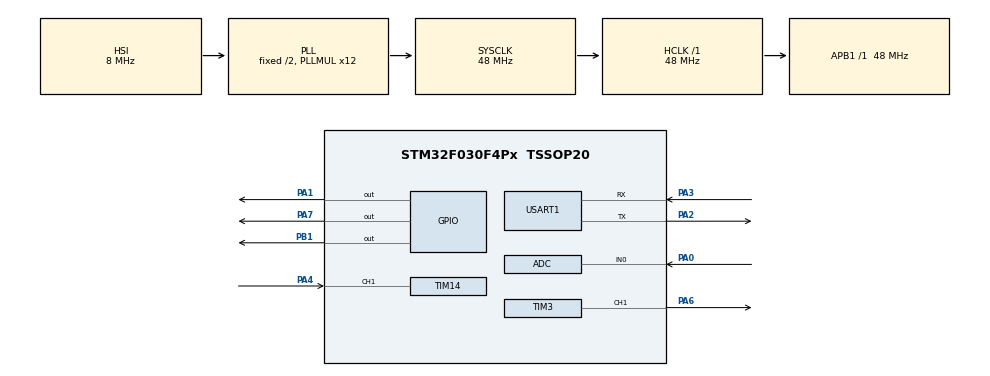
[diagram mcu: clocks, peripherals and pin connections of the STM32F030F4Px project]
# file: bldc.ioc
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ADC.SamplingTime=ADC_SAMPLETIME_239CYCLES_5
Mcu.Family=STM32F0
Mcu.Name=STM32F030F4Px
Mcu.Package=TSSOP20
NVIC.TIM14_IRQn=true\:0\:0\:true\:false\:true\:true\:true\:true
NVIC.USART1_IRQn=true\:0\:0\:false\:false\:true\:true\:true\:true
PA0.Mode=IN0
PA0.Signal=ADC_IN0
PA1.Signal=GPIO_Output
PA13.Mode=Serial_Wire
PA13.Signal=SYS_SWDIO
PA14.Mode=Serial_Wire
PA14.Signal=SYS_SWCLK
PA2.Mode=Asynchronous
PA2.Signal=USART1_TX
PA3.Mode=Asynchronous
PA3.Signal=USART1_RX
PA4.Signal=S_TIM14_CH1
PA6.Signal=S_TIM3_CH1
PA7.Signal=GPIO_Output
PB1.Signal=GPIO_Output
PF0-OSC_IN.Mode=HSE-External-Oscillator
PF0-OSC_IN.Signal=RCC_OSC_IN
PF1-OSC_OUT.Mode=HSE-External-Oscillator
PF1-OSC_OUT.Signal=RCC_OSC_OUT
ProjectManager.HeapSize=0x200
ProjectManager.StackSize=0x400
ProjectManager.TargetToolchain=MDK-ARM V5
RCC.AHBFreq_Value=48000000
RCC.APB1Freq_Value=48000000
RCC.APB1TimFreq_Value=48000000
RCC.HCLKFreq_Value=48000000
RCC.PLLMUL=RCC_PLL_MUL12
RCC.SYSCLKFreq_VALUE=48000000
RCC.SYSCLKSource=RCC_SYSCLKSOURCE_PLLCLK
SH.S_TIM14_CH1.0=TIM14_CH1,Input_Capture1_from_TI1
SH.S_TIM3_CH1.0=TIM3_CH1,PWM Generation1 CH1
TIM14.AutoReloadPreload=TIM_AUTORELOAD_PRELOAD_ENABLE
TIM14.Channel=TIM_CHANNEL_1
TIM14.Prescaler=11999
TIM3.Channel-PWM\ Generation1\ CH1=TIM_CHANNEL_1
TIM3.Period=99
TIM3.Prescaler=47
TIM3.Pulse-PWM\ Generation1\ CH1=0
USART1.VirtualMode-Asynchronous=VM_ASYNC
VP_TIM14_VS_ClockSourceINT.Mode=Enable_Timer
board=custom

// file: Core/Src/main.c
/* USER CODE BEGIN Header */
/**
  ******************************************************************************
  * @file           : main.c
  * @brief          : Main program body
  ******************************************************************************
  * @attention
  *
  * Copyright (c) 2022 STMicroelectronics.
  * All rights reserved.
  *
  * This software is licensed under terms that can be found in the LICENSE file
  * in the root directory of this software component.
  * If no LICENSE file comes with this software, it is provided AS-IS.
  *
  ******************************************************************************
  */
/* USER CODE END Header */
#include "main.h"

/* USER CODE BEGIN Includes */

#include "stdio.h"
#include "string.h"
#include "math.h"
/* USER CODE END Includes */

/* USER CODE BEGIN PD */
#define TIMCLOCK 48000000
#define PRESCALAR 12000
/* USER CODE END PD */

ADC_HandleTypeDef hadc;
TIM_HandleTypeDef htim3;
TIM_HandleTypeDef htim14;
UART_HandleTypeDef huart1;

/* USER CODE BEGIN PV */
uint32_t IC_Val1 = 0;
uint32_t IC_Val2 = 0;
uint32_t Difference = 0;
uint8_t Is_First_Captured = 0;
int demxungHall=0;
float quangduong;
int quangduong_int=0;
float tocdo_thuc;
float tocdo_ref;
float tocdo_ref2;
float chu_ky=0;
int tocdo_int = 0;
int tocdo_ref_int=0;
float last;
uint16_t Duty= 0;
uint8_t Rx_Buff[20];
uint8_t Rx_Data;
uint8_t Tx_Buff[30];
uint8_t _rxIndex;
uint8_t Tx_Flag =0;
float kp=0.3, ki=30, kd=0;
float error;
float error1=0;
float errorSum;
float outpid=0;
int Output =0;
float Timechange= 0.1;
uint16_t u16_ADCVal;
float Voltage;
float Current;
int Current_int=0;
/* USER CODE END PV */

void SystemClock_Config(void);
static void MX_GPIO_Init(void);
static void MX_TIM3_Init(void);
static void MX_TIM14_Init(void);
static void MX_USART1_UART_Init(void);
static void MX_ADC_Init(void);
/* USER CODE BEGIN PFP */

void HAL_UART_RxCpltCallback(UART_HandleTypeDef *huart)
{
	if(huart->Instance == USART1)
	{
		if(Rx_Data != 46 )
		{
			Rx_Buff[_rxIndex++] = Rx_Data;
		}
		else if (Rx_Data == 46 )
		{
			_rxIndex = 0;
		Tx_Flag = 1;
		}
		HAL_UART_Receive_IT(&huart1, &Rx_Data,1);
	}
}

void HAL_TIM_IC_CaptureCallback(TIM_HandleTypeDef *htim)
{

//kiem tra kenh gay ra ngat
   if (htim->Channel == HAL_TIM_ACTIVE_CHANNEL_1)
   {
		 demxungHall++;
// kiem tra xem co phai lan lay mau dau tien
       if (Is_First_Captured==0)
       {
// luu gia tri thoi gian cua lan lay mau dau
           IC_Val1 = HAL_TIM_ReadCapturedValue(htim, TIM_CHANNEL_1);
           Is_First_Captured = 1;
       }
// kiem tra xem co phai lan lay mau thu 2
       else if (Is_First_Captured==1)
       {
// luu gia tri thoi gian cua lan lay mau thu 2
           IC_Val2 = HAL_TIM_ReadCapturedValue(htim, TIM_CHANNEL_1);
           __HAL_TIM_SET_COUNTER(htim, 0); // reset the counter
           if(IC_Val2 > IC_Val1)
           {
// Thoi gian giua 2 lan xung len
						 Difference = IC_Val2-IC_Val1;
						 float refClock = TIMCLOCK/(PRESCALAR);
						 tocdo_thuc = 60*(refClock/Difference)/2;
					 }
					 Is_First_Captured = 0;
       }
   }
}

int PID( int Output, float frequency_ref,float tocdo_thuc)
{
error = frequency_ref - tocdo_thuc;
errorSum += error*Timechange;
outpid = kp*error + ki*errorSum + (error-error1)*kd/(Timechange);
if(Output+ outpid >=99)
{
Output = 99;
}
else if(Output +outpid <0)
{
Output =0;
}
else
{
Output = Output + outpid;
}
error1=error;
return Output;
}

/* USER CODE END PFP */

int main(void)
{

  /* MCU Configuration--------------------------------------------------------*/

  /* Reset of all peripherals, Initializes the Flash interface and the Systick. */
  HAL_Init();

  /* Configure the system clock */
  SystemClock_Config();

  /* Initialize all configured peripherals */
  MX_GPIO_Init();
  MX_TIM3_Init();
  MX_TIM14_Init();
  MX_USART1_UART_Init();
  MX_ADC_Init();
  /* USER CODE BEGIN 2 */
  HAL_GPIO_WritePin(GPIOA, GPIO_PIN_7, GPIO_PIN_RESET);//EN
	HAL_GPIO_WritePin(GPIOB, GPIO_PIN_1, GPIO_PIN_SET);//BRK
  HAL_GPIO_WritePin(GPIOA, GPIO_PIN_1, GPIO_PIN_SET);//FR
  HAL_TIM_PWM_Start(&htim3,TIM_CHANNEL_1);
	HAL_TIM_IC_Start_IT(&htim14, TIM_CHANNEL_1);
	HAL_UART_Transmit(&huart1,Tx_Buff,sizeof(Tx_Buff),100);
	HAL_UART_Receive_IT(&huart1,&Rx_Data,1);
	last = HAL_GetTick();
  /* USER CODE END 2 */

  /* Infinite loop */
  while (1)
  {

    /* USER CODE BEGIN 3 */
	if(Tx_Flag ){
	if(Rx_Buff[0] >= '0' && Rx_Buff[0] <= '9')
{
		tocdo_ref = (Rx_Buff[0]-'0')*1000+(Rx_Buff[1]-'0')*100+(Rx_Buff[2]-'0')*10+(Rx_Buff[3]-'0');
}
	Tx_Flag = 0;}

		if (HAL_GetTick()-last >= 100)
{

		last = HAL_GetTick();
		tocdo_int = (int)tocdo_thuc;
		Duty = PID(Output, tocdo_ref,tocdo_thuc);
		__HAL_TIM_SET_COMPARE(&htim3,TIM_CHANNEL_1, Duty);
		HAL_ADC_Start_IT(&hadc);
		u16_ADCVal = HAL_ADC_GetValue(&hadc);
		Voltage = (float)u16_ADCVal/4095*3.3;
		Current= (Voltage - 2.5)*10;
		Current_int=(int)(Current*100);
		quangduong = demxungHall*(50/117);
		quangduong_int=(int)quangduong;
		sprintf(Tx_Buff, "%d,%d,%d",tocdo_ref,tocdo_int, quangduong_int);
		HAL_UART_Transmit(&huart1,Tx_Buff,sizeof(Tx_Buff),100);
}
}
  /* USER CODE END 3 */
}

void SystemClock_Config(void)
{
  RCC_OscInitTypeDef RCC_OscInitStruct = {0};
  RCC_ClkInitTypeDef RCC_ClkInitStruct = {0};
  RCC_PeriphCLKInitTypeDef PeriphClkInit = {0};

  /** Initializes the RCC Oscillators according to the specified parameters
  * in the RCC_OscInitTypeDef structure.
  */
  RCC_OscInitStruct.OscillatorType = RCC_OSCILLATORTYPE_HSI|RCC_OSCILLATORTYPE_HSI14;
  RCC_OscInitStruct.HSIState = RCC_HSI_ON;
  RCC_OscInitStruct.HSI14State = RCC_HSI14_ON;
  RCC_OscInitStruct.HSICalibrationValue = RCC_HSICALIBRATION_DEFAULT;
  RCC_OscInitStruct.HSI14CalibrationValue = 16;
  RCC_OscInitStruct.PLL.PLLState = RCC_PLL_ON;
  RCC_OscInitStruct.PLL.PLLSource = RCC_PLLSOURCE_HSI;
  RCC_OscInitStruct.PLL.PLLMUL = RCC_PLL_MUL12;
  RCC_OscInitStruct.PLL.PREDIV = RCC_PREDIV_DIV1;
  if (HAL_RCC_OscConfig(&RCC_OscInitStruct) != HAL_OK)
  {
    Error_Handler();
  }

  /** Initializes the CPU, AHB and APB buses clocks
  */
  RCC_ClkInitStruct.ClockType = RCC_CLOCKTYPE_HCLK|RCC_CLOCKTYPE_SYSCLK
                              |RCC_CLOCKTYPE_PCLK1;
  RCC_ClkInitStruct.SYSCLKSource = RCC_SYSCLKSOURCE_PLLCLK;
  RCC_ClkInitStruct.AHBCLKDivider = RCC_SYSCLK_DIV1;
  RCC_ClkInitStruct.APB1CLKDivider = RCC_HCLK_DIV1;

  if (HAL_RCC_ClockConfig(&RCC_ClkInitStruct, FLASH_LATENCY_1) != HAL_OK)
  {
    Error_Handler();
  }
  PeriphClkInit.PeriphClockSelection = RCC_PERIPHCLK_USART1;
  PeriphClkInit.Usart1ClockSelection = RCC_USART1CLKSOURCE_PCLK1;
  if (HAL_RCCEx_PeriphCLKConfig(&PeriphClkInit) != HAL_OK)
{
    Error_Handler();
  }
  HAL_RCC_MCOConfig(RCC_MCO, RCC_MCO1SOURCE_SYSCLK, RCC_MCODIV_1);
}

static void MX_ADC_Init(void)
{

  ADC_ChannelConfTypeDef sConfig = {0};

  /** Configure the global features of the ADC (Clock, Resolution, Data Alignment and number of conversion)
  */
  hadc.Instance = ADC1;
  hadc.Init.ClockPrescaler = ADC_CLOCK_ASYNC_DIV1;
  hadc.Init.Resolution = ADC_RESOLUTION_12B;
  hadc.Init.DataAlign = ADC_DATAALIGN_RIGHT;
  hadc.Init.ScanConvMode = ADC_SCAN_DIRECTION_FORWARD;
  hadc.Init.EOCSelection = ADC_EOC_SINGLE_CONV;
  hadc.Init.LowPowerAutoWait = DISABLE;
  hadc.Init.LowPowerAutoPowerOff = DISABLE;
  hadc.Init.ContinuousConvMode = DISABLE;
  hadc.Init.DiscontinuousConvMode = DISABLE;
  hadc.Init.ExternalTrigConv = ADC_SOFTWARE_START;
  hadc.Init.ExternalTrigConvEdge = ADC_EXTERNALTRIGCONVEDGE_NONE;
  hadc.Init.DMAContinuousRequests = DISABLE;
  hadc.Init.Overrun = ADC_OVR_DATA_PRESERVED;
  if (HAL_ADC_Init(&hadc) != HAL_OK)
  {
    Error_Handler();
  }

  /** Configure for the selected ADC regular channel to be converted.
  */
  sConfig.Channel = ADC_CHANNEL_0;
  sConfig.Rank = ADC_RANK_CHANNEL_NUMBER;
  sConfig.SamplingTime = ADC_SAMPLETIME_1CYCLE_5;
  if (HAL_ADC_ConfigChannel(&hadc, &sConfig) != HAL_OK)
  {
    Error_Handler();
  }

}

static void MX_TIM3_Init(void)
{

  TIM_ClockConfigTypeDef sClockSourceConfig = {0};
  TIM_MasterConfigTypeDef sMasterConfig = {0};
  TIM_OC_InitTypeDef sConfigOC = {0};

  htim3.Instance = TIM3;
  htim3.Init.Prescaler = 47;
  htim3.Init.CounterMode = TIM_COUNTERMODE_UP;
  htim3.Init.Period = 99;
  htim3.Init.ClockDivision = TIM_CLOCKDIVISION_DIV1;
  htim3.Init.AutoReloadPreload = TIM_AUTORELOAD_PRELOAD_DISABLE;
  if (HAL_TIM_Base_Init(&htim3) != HAL_OK)
  {
    Error_Handler();
  }
  sClockSourceConfig.ClockSource = TIM_CLOCKSOURCE_INTERNAL;
  if (HAL_TIM_ConfigClockSource(&htim3, &sClockSourceConfig) != HAL_OK)
  {
    Error_Handler();
  }
  if (HAL_TIM_PWM_Init(&htim3) != HAL_OK)
  {
    Error_Handler();
  }
  sMasterConfig.MasterOutputTrigger = TIM_TRGO_RESET;
  sMasterConfig.MasterSlaveMode = TIM_MASTERSLAVEMODE_DISABLE;
  if (HAL_TIMEx_MasterConfigSynchronization(&htim3, &sMasterConfig) != HAL_OK)
  {
    Error_Handler();
  }
  sConfigOC.OCMode = TIM_OCMODE_PWM1;
  sConfigOC.Pulse = 0;
  sConfigOC.OCPolarity = TIM_OCPOLARITY_HIGH;
  sConfigOC.OCFastMode = TIM_OCFAST_DISABLE;
  if (HAL_TIM_PWM_ConfigChannel(&htim3, &sConfigOC, TIM_CHANNEL_1) != HAL_OK)
  {
Error_Handler();
  }
  HAL_TIM_MspPostInit(&htim3);

}

static void MX_TIM14_Init(void)
{

  TIM_IC_InitTypeDef sConfigIC = {0};

  htim14.Instance = TIM14;
  htim14.Init.Prescaler = 47999;
  htim14.Init.CounterMode = TIM_COUNTERMODE_UP;
  htim14.Init.Period = 65535;
  htim14.Init.ClockDivision = TIM_CLOCKDIVISION_DIV1;
  htim14.Init.AutoReloadPreload = TIM_AUTORELOAD_PRELOAD_DISABLE;
  if (HAL_TIM_Base_Init(&htim14) != HAL_OK)
  {
    Error_Handler();
  }
  if (HAL_TIM_IC_Init(&htim14) != HAL_OK)
  {
    Error_Handler();
  }
  sConfigIC.ICPolarity = TIM_INPUTCHANNELPOLARITY_RISING;
  sConfigIC.ICSelection = TIM_ICSELECTION_DIRECTTI;
  sConfigIC.ICPrescaler = TIM_ICPSC_DIV1;
  sConfigIC.ICFilter = 0;
  if (HAL_TIM_IC_ConfigChannel(&htim14, &sConfigIC, TIM_CHANNEL_1) != HAL_OK)
  {
    Error_Handler();
  }

}

static void MX_USART1_UART_Init(void)
{

  huart1.Instance = USART1;
  huart1.Init.BaudRate = 38400;
  huart1.Init.WordLength = UART_WORDLENGTH_8B;
  huart1.Init.StopBits = UART_STOPBITS_1;
  huart1.Init.Parity = UART_PARITY_NONE;
  huart1.Init.Mode = UART_MODE_TX_RX;
  huart1.Init.HwFlowCtl = UART_HWCONTROL_NONE;
  huart1.Init.OverSampling = UART_OVERSAMPLING_16;
  huart1.Init.OneBitSampling = UART_ONE_BIT_SAMPLE_DISABLE;
  huart1.AdvancedInit.AdvFeatureInit = UART_ADVFEATURE_NO_INIT;
  if (HAL_UART_Init(&huart1) != HAL_OK)
  {
    Error_Handler();
  }

}

static void MX_GPIO_Init(void)
{
  GPIO_InitTypeDef GPIO_InitStruct = {0};

  /* GPIO Ports Clock Enable */
  __HAL_RCC_GPIOF_CLK_ENABLE();
  __HAL_RCC_GPIOA_CLK_ENABLE();
  __HAL_RCC_GPIOB_CLK_ENABLE();

  /*Configure GPIO pin Output Level */
  HAL_GPIO_WritePin(GPIOA, GPIO_PIN_1|GPIO_PIN_7, GPIO_PIN_RESET);

  /*Configure GPIO pin Output Level */
  HAL_GPIO_WritePin(GPIOB, GPIO_PIN_1, GPIO_PIN_RESET);

  /*Configure GPIO pins : PA1 PA7 */
  GPIO_InitStruct.Pin = GPIO_PIN_1|GPIO_PIN_7;
  GPIO_InitStruct.Mode = GPIO_MODE_OUTPUT_PP;
  GPIO_InitStruct.Pull = GPIO_NOPULL;
  GPIO_InitStruct.Speed = GPIO_SPEED_FREQ_LOW;
  HAL_GPIO_Init(GPIOA, &GPIO_InitStruct);

  /*Configure GPIO pin : PB1 */
  GPIO_InitStruct.Pin = GPIO_PIN_1;
  GPIO_InitStruct.Mode = GPIO_MODE_OUTPUT_PP;
  GPIO_InitStruct.Pull = GPIO_NOPULL;
  GPIO_InitStruct.Speed = GPIO_SPEED_FREQ_LOW;
  HAL_GPIO_Init(GPIOB, &GPIO_InitStruct);

}

void Error_Handler(void)
{
  __disable_irq();
  while (1)
  {
  }
}
